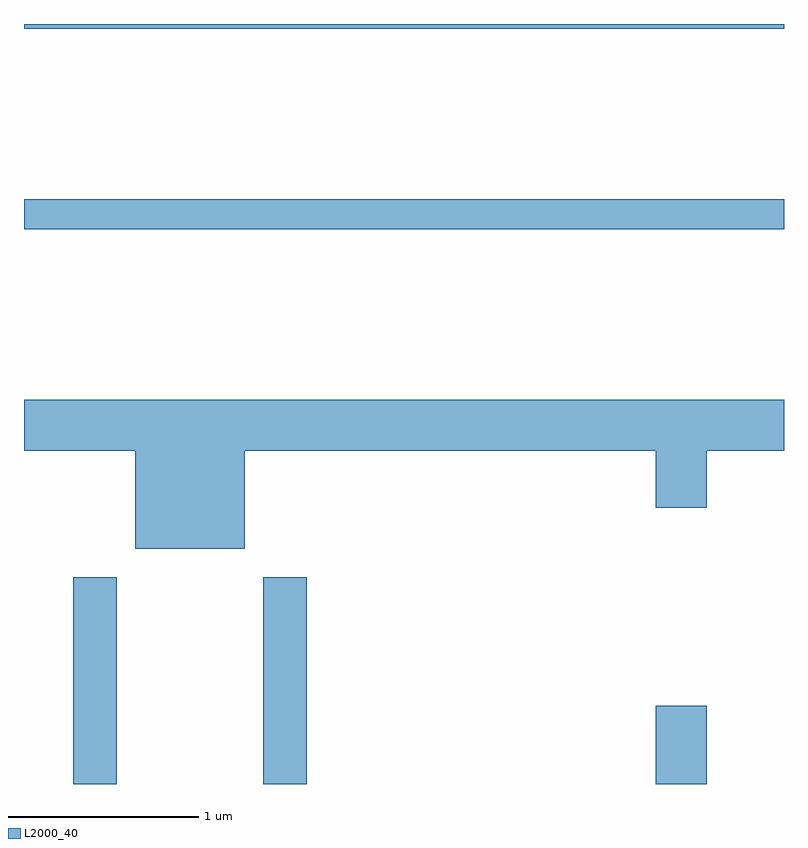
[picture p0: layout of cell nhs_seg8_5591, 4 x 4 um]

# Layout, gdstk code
import gdstk
lib = gdstk.Library(unit=1e-6, precision=1e-09)
def R(c, l, rs):  # rectangles x0, y0, x1, y1
    for r in rs: c.add(gdstk.rectangle(r[:2], r[2:], *l))
def P(c, l, *ps):  # polygons
    for p in ps: c.add(gdstk.Polygon(p, *l))
L2000_40 = (2000, 40)

nhs_seg8_5591 = lib.new_cell('nhs_seg8_5591')
R(nhs_seg8_5591, L2000_40, [(351.871,1932.342,352.099,1933.429), (352.871,1932.342,353.099,1933.429), (354.936,1932.342,355.204,1932.754), (351.611,1935.261,355.611,1935.419), (351.611,1936.316,355.611,1936.342)])
P(nhs_seg8_5591, L2000_40, [(352.774,1934.096),(354.936,1934.096),(354.936,1933.796),(355.204,1933.796),(355.204,1934.096),(355.611,1934.096),(355.611,1934.364),(351.611,1934.364),(351.611,1934.096),(352.196,1934.096),(352.196,1933.581),(352.774,1933.581)])

lib.write_gds('nhs_seg8_5591.gds')
